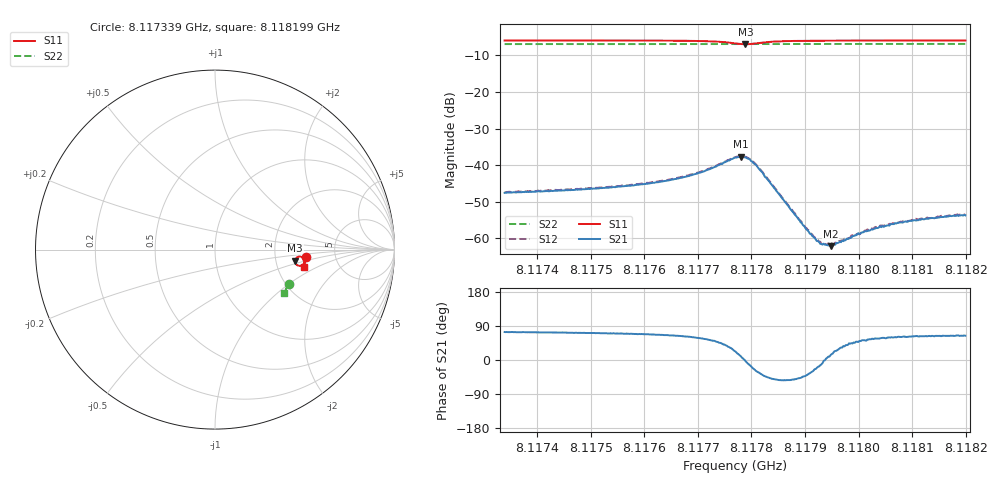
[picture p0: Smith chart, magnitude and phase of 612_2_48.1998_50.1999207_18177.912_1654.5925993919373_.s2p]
#  HZ  S  RI  R  50.00
! Rohde & Schwarz Vector Network Analyzer
! Rohde-Schwarz,ZNB20-2Port,1311601062101988,3.16
! Created: UTC 3/20/2024, 12:03:33 PM
! freq[Hz]  re:S11  im:S11  re:S21  im:S21  re:S12  im:S12  re:S22  im:S22
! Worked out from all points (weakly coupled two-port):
!   401 points, 8.117339 GHz to 8.118199 GHz, reference 50 ohm
!   highest |S21| = -37.72 dB at 8.11778 GHz (marker M1); lowest = -62.1 dB at 8.117948 GHz (marker M2)
!   lowest |S11| = -6.9 dB at 8.117789 GHz (marker M3), VSWR 2.64, Z = 128 - j20 ohm
!   |S11| at or under -10 dB: nowhere
!   |S22| runs from -6.9 to -6.8 dB; largest |S21 - S12| = 0.00043
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8.1173393e9  0.5052 -0.041  0.00116 0.00402  0.0012 0.00412  0.4099 -0.1909
8.1174833e9  0.5035 -0.0541  0.00146 0.00442  0.00152 0.00452  0.406 -0.2
8.1175715e9  0.5016 -0.063  0.00188 0.00489  0.00195 0.00495  0.4034 -0.206
8.1176274e9  0.4992 -0.0698  0.00233 0.00539  0.00244 0.00552  0.4016 -0.2096
8.1176683e9  0.496 -0.0761  0.00302 0.006  0.00312 0.00611  0.4002 -0.2121
8.1177027e9  0.4912 -0.0825  0.00419 0.00665  0.00428 0.00674  0.399 -0.2145
8.1177693e9  0.4553 -0.0848  0.0117 0.00499  0.0118 0.00501  0.3953 -0.2181
8.1177801e9  0.4474 -0.0741  0.0128 0.00225  0.0132 0.00227  0.3949 -0.2182
8.1177887e9  0.4459 -0.0622  0.0128 -0.000503  0.013 -0.000475  0.3947 -0.2181
8.1178016e9  0.4537 -0.0461  0.0105 -0.00392  0.0107 -0.00398  0.3947 -0.2183
8.1178166e9  0.4694 -0.0388  0.00687 -0.005  0.00711 -0.00512  0.3952 -0.2191
8.1178876e9  0.4972 -0.0568  0.00122 -0.00137  0.00122 -0.00144  0.3941 -0.2245
8.1179134e9  0.4988 -0.0623  0.000926 -0.000553  0.000955 -0.000608  0.3932 -0.2262
8.1179284e9  0.4994 -0.0651  0.000814 -0.000202  0.000881 -0.000176  0.3927 -0.2273
8.1179478e9  0.4998 -0.0681  0.000768 0.000179  0.000757 0.000187  0.392 -0.2286
8.1179564e9  0.4997 -0.0696  0.000747 0.000332  0.000801 0.000352  0.3918 -0.2291
8.1180101e9  0.4997 -0.0764  0.000755 0.000971  0.00078 0.000967  0.39 -0.2325
8.1180359e9  0.4997 -0.0791  0.000764 0.00115  0.000832 0.00121  0.3893 -0.2342
8.1180574e9  0.4993 -0.0814  0.000751 0.00129  0.000811 0.00135  0.3885 -0.2354
8.1180832e9  0.499 -0.0839  0.000779 0.00145  0.000854 0.0015  0.3876 -0.237
8.1181327e9  0.4983 -0.0888  0.00084 0.00169  0.000865 0.00168  0.3857 -0.24
8.1181993e9  0.4974 -0.0944  0.000897 0.00185  0.000939 0.00193  0.3835 -0.2442
